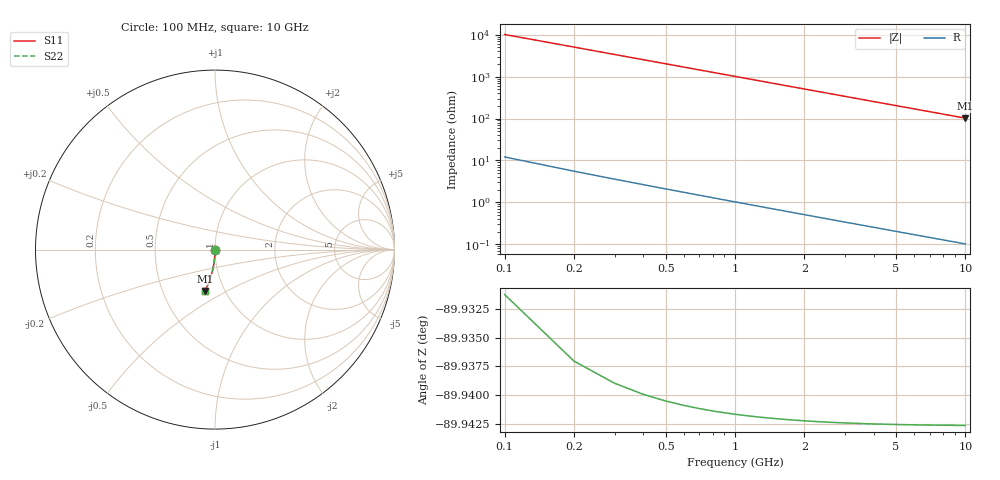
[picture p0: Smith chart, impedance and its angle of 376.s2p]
# Hz S RI R 50.00
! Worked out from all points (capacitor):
!   100 points, 100 MHz to 10 GHz, reference 50 ohm
!   read as one part in shunt: C = 157 fF near 100 MHz
!   lowest |Z| = 102 ohm at 10 GHz (marker M1)
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1e8  -8.68e-06 -0.00247  1 -0.00247  1 -0.00247  -8.68e-06 -0.00247
2e8  -2.94e-05 -0.00494  1 -0.00494  1 -0.00494  -2.94e-05 -0.00494
3e8  -6.24e-05 -0.0074  0.9999 -0.00741  0.9999 -0.00741  -6.24e-05 -0.0074
4e8  -0.000107 -0.00987  0.9999 -0.00988  0.9999 -0.00988  -0.000107 -0.00987
5e8  -0.000165 -0.0123  0.9998 -0.0123  0.9998 -0.0123  -0.000165 -0.0123
6e8  -0.000234 -0.0148  0.9998 -0.0148  0.9998 -0.0148  -0.000234 -0.0148
7e8  -0.000316 -0.0173  0.9997 -0.0173  0.9997 -0.0173  -0.000316 -0.0173
8e8  -0.00041 -0.0197  0.9996 -0.0197  0.9996 -0.0197  -0.00041 -0.0197
9e8  -0.000515 -0.0222  0.9995 -0.0222  0.9995 -0.0222  -0.000515 -0.0222
1.1e9  -0.000763 -0.0271  0.9992 -0.0271  0.9992 -0.0271  -0.000763 -0.0271
1.4e9  -0.00123 -0.0345  0.9988 -0.0345  0.9988 -0.0345  -0.00123 -0.0345
1.8e9  -0.00201 -0.0443  0.998 -0.0443  0.998 -0.0443  -0.00201 -0.0443
2.1e9  -0.00272 -0.0516  0.9973 -0.0516  0.9973 -0.0516  -0.00272 -0.0516
2.5e9  -0.00384 -0.0613  0.9962 -0.0614  0.9962 -0.0614  -0.00384 -0.0613
2.9e9  -0.00514 -0.071  0.9949 -0.071  0.9949 -0.071  -0.00514 -0.071
3.4e9  -0.00703 -0.083  0.993 -0.0831  0.993 -0.0831  -0.00703 -0.083
4.2e9  -0.0106 -0.1021  0.9894 -0.1021  0.9894 -0.1021  -0.0106 -0.1021
5.1e9  -0.0155 -0.1232  0.9845 -0.1233  0.9845 -0.1233  -0.0155 -0.1232
5.9e9  -0.0206 -0.1416  0.9794 -0.1417  0.9794 -0.1417  -0.0206 -0.1416
6.7e9  -0.0264 -0.1597  0.9736 -0.1598  0.9736 -0.1598  -0.0264 -0.1597
8.4e9  -0.0407 -0.197  0.9593 -0.1971  0.9593 -0.1971  -0.0407 -0.197
1e10  -0.0565 -0.2303  0.9435 -0.2305  0.9435 -0.2305  -0.0565 -0.2303
